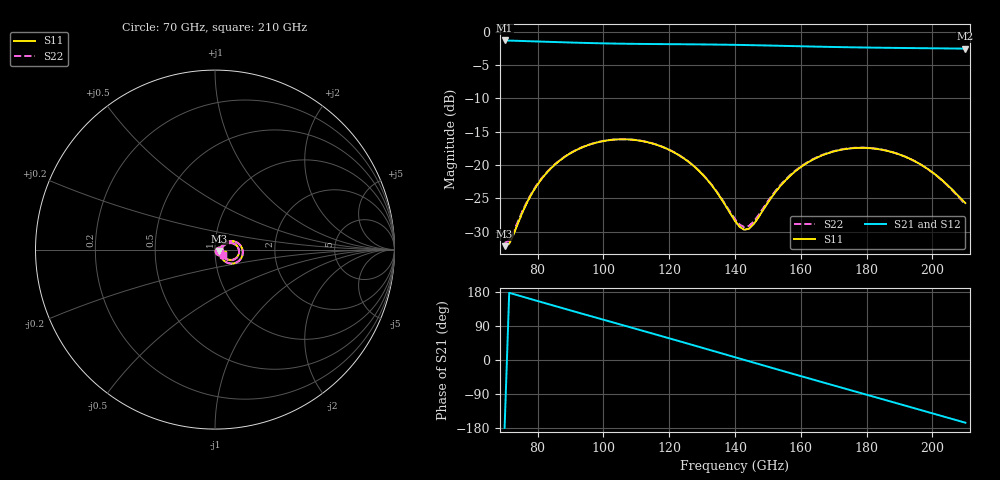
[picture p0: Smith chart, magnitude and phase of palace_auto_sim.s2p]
#  GHZ S DB R 50
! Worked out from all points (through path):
!   101 points, 70 GHz to 210 GHz, reference 50 ohm
!   highest |S21| = -1.33 dB at 70 GHz (marker M1); lowest = -2.6 dB at 210 GHz (marker M2)
!   group delay of S21, straight-line fit = 6.87 ps
!   lowest |S11| = -32.1 dB at 70 GHz (marker M3), VSWR 1.05, Z = 52.4 - j0.871 ohm
!   |S11| at or under -10 dB: start of sweep to end of sweep
!   |S22| runs from -31.7 to -16.1 dB; largest |S21 - S12| = 9.1e-14
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70  -32.14 -19.7  -1.33 -179.1  -1.33 -179.1  -31.66 -18.5
71.4  -31.77 0.8  -1.35 177.3  -1.35 177.3  -31.27 0.6
77  -25.42 33.2  -1.44 163.2  -1.44 163.2  -25.26 32.0
81.2  -22.09 33.0  -1.50 152.7  -1.50 152.7  -22.01 32.0
86.8  -19.30 25.9  -1.59 138.8  -1.59 138.8  -19.25 25.2
93.8  -17.30 13.7  -1.69 121.6  -1.69 121.6  -17.27 13.3
100.8  -16.33 0.5  -1.77 104.4  -1.77 104.4  -16.31 0.1
106.4  -16.14 -10.4  -1.82 90.7  -1.82 90.7  -16.12 -10.7
112  -16.42 -21.3  -1.85 77.0  -1.85 77.0  -16.40 -21.4
117.6  -17.20 -31.8  -1.88 63.2  -1.88 63.2  -17.19 -31.8
124.6  -19.04 -43.5  -1.90 45.8  -1.90 45.8  -19.02 -43.3
130.2  -21.43 -50.1  -1.92 31.9  -1.92 31.9  -21.40 -49.7
140  -28.36 -35.5  -1.99 7.3  -1.99 7.3  -28.10 -34.3
142.8  -29.68 -14.6  -2.01 0.3  -2.01 0.3  -29.28 -14.3
144.2  -29.54 -2.7  -2.03 -3.2  -2.03 -3.2  -29.13 -3.0
155.4  -22.25 27.1  -2.15 -31.1  -2.15 -31.1  -22.13 25.7
163.8  -19.14 17.5  -2.24 -51.9  -2.24 -51.9  -19.08 16.3
170.8  -17.86 6.1  -2.32 -69.1  -2.32 -69.1  -17.81 5.0
176.4  -17.44 -3.6  -2.36 -82.8  -2.36 -82.8  -17.41 -4.7
187.6  -18.04 -22.5  -2.44 -110.3  -2.44 -110.3  -18.02 -23.7
200.2  -21.16 -37.8  -2.51 -141.3  -2.51 -141.3  -21.19 -39.5
210  -25.69 -31.3  -2.56 -165.5  -2.56 -165.5  -25.89 -33.3
